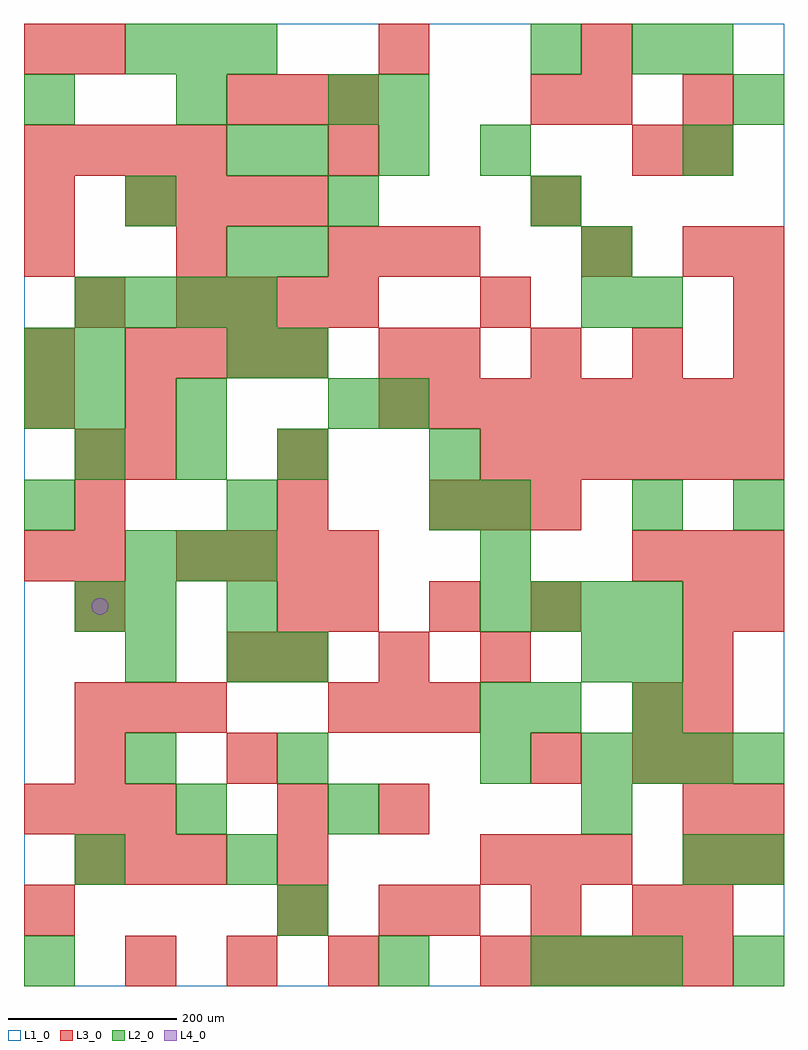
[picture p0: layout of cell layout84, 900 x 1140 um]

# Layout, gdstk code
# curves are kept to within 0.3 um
import gdstk
lib = gdstk.Library(unit=1e-6, precision=1e-09)
def R(c, l, rs):  # rectangles x0, y0, x1, y1
    for r in rs: c.add(gdstk.rectangle(r[:2], r[2:], *l))
def A(c, l, x, y, w, h, nx, ny, dx, dy):  # array of equal rectangles
    R(c, l, [(x+i*dx, y+j*dy, x+i*dx+w, y+j*dy+h) for i in range(nx) for j in range(ny)])
def P(c, l, *ps):  # polygons
    for p in ps: c.add(gdstk.Polygon(p, *l))
L1_0 = (1, 0)
L2_0 = (2, 0)
L3_0 = (3, 0)
L4_0 = (4, 0)

layout84 = lib.new_cell('layout84')
R(layout84, L1_0, [(0,0,900,1140)])
A(layout84, L2_0, 600, 0, 60, 60, 3, 1, 60, 0)
A(layout84, L2_0, 660, 240, 60, 60, 4, 1, 60, 0)
A(layout84, L2_0, 540, 420, 60, 60, 4, 1, 60, 0)
A(layout84, L2_0, 120, 480, 60, 60, 3, 2, 60, 600)
A(layout84, L2_0, 0, 540, 60, 60, 3, 1, 240, 0)
A(layout84, L2_0, 60, 600, 60, 60, 3, 1, 120, 0)
A(layout84, L2_0, 240, 720, 60, 60, 1, 3, 0, 120)
A(layout84, L2_0, 60, 780, 60, 60, 4, 1, 60, 0)
A(layout84, L2_0, 120, 900, 60, 60, 3, 1, 240, 0)
A(layout84, L2_0, 300, 960, 60, 60, 3, 1, 120, 0)
A(layout84, L2_0, 0, 1020, 60, 60, 3, 1, 180, 0)
R(layout84, L2_0, [(0,0,60,60), (420,0,480,60), (840,0,900,60), (300,60,360,120), (60,120,120,180), (240,120,300,180), (780,120,840,180), (840,120,900,180), (180,180,240,240), (360,180,420,240), (660,180,720,240), (120,240,180,300), (300,240,360,300), (540,240,600,300), (540,300,600,360), (600,300,660,360), (720,300,780,360), (120,360,180,420), (240,360,300,420), (300,360,360,420), (660,360,720,420), (720,360,780,420), (60,420,120,480), (120,420,180,480), (240,420,300,480), (540,480,600,540), (540,540,600,600), (720,540,780,600), (840,540,900,600), (480,600,540,660), (0,660,60,720), (60,660,120,720), (180,660,240,720), (360,660,420,720), (420,660,480,720), (0,720,60,780), (60,720,120,780), (300,720,360,780), (660,780,720,840), (720,780,780,840), (300,840,360,900), (660,840,720,900), (780,960,840,1020), (420,1020,480,1080), (840,1020,900,1080), (600,1080,660,1140), (720,1080,780,1140), (780,1080,840,1140)])
A(layout84, L3_0, 120, 0, 60, 60, 3, 1, 120, 0)
A(layout84, L3_0, 540, 0, 60, 60, 5, 1, 60, 0)
A(layout84, L3_0, 300, 60, 60, 60, 1, 3, 0, 60)
A(layout84, L3_0, 480, 60, 60, 60, 3, 1, 120, 0)
A(layout84, L3_0, 780, 60, 60, 60, 1, 7, 0, 60)
A(layout84, L3_0, 60, 120, 60, 60, 3, 2, 60, 180)
A(layout84, L3_0, 540, 120, 60, 60, 3, 1, 60, 0)
A(layout84, L3_0, 0, 180, 60, 60, 3, 1, 60, 0)
A(layout84, L3_0, 360, 300, 60, 60, 3, 1, 60, 0)
A(layout84, L3_0, 300, 360, 60, 60, 3, 1, 120, 0)
A(layout84, L3_0, 60, 420, 60, 60, 1, 4, 0, 60)
A(layout84, L3_0, 360, 420, 60, 60, 3, 1, 120, 0)
A(layout84, L3_0, 180, 480, 60, 60, 4, 2, 60, 300)
A(layout84, L3_0, 720, 480, 60, 60, 3, 1, 60, 0)
A(layout84, L3_0, 480, 540, 60, 60, 3, 1, 60, 0)
A(layout84, L3_0, 540, 600, 60, 60, 6, 1, 60, 0)
A(layout84, L3_0, 420, 660, 60, 60, 8, 1, 60, 0)
A(layout84, L3_0, 0, 720, 60, 60, 1, 3, 0, 180)
A(layout84, L3_0, 120, 720, 60, 60, 4, 2, 60, 180)
A(layout84, L3_0, 480, 720, 60, 60, 4, 1, 120, 0)
A(layout84, L3_0, 0, 840, 60, 60, 3, 1, 180, 0)
A(layout84, L3_0, 0, 960, 60, 60, 4, 1, 60, 0)
A(layout84, L3_0, 240, 1020, 60, 60, 3, 1, 60, 0)
R(layout84, L3_0, [(0,60,60,120), (420,60,480,120), (840,120,900,180), (420,180,480,240), (840,180,900,240), (60,240,120,300), (240,240,300,300), (600,240,660,300), (720,240,780,300), (720,300,780,360), (240,360,300,420), (300,420,360,480), (840,420,900,480), (0,480,60,540), (300,540,360,600), (120,600,180,660), (300,600,360,660), (0,660,60,720), (120,660,180,720), (420,720,480,780), (60,780,120,840), (540,780,600,840), (840,780,900,840), (420,840,480,900), (480,840,540,900), (660,840,720,900), (780,840,840,900), (840,840,900,900), (600,900,660,960), (360,960,420,1020), (720,960,780,1020), (780,960,840,1020), (600,1020,660,1080), (660,1020,720,1080), (780,1020,840,1080), (60,1080,120,1140), (420,1080,480,1140), (660,1080,720,1140)])
P(layout84, L4_0, [(100,450),(99.239,453.827),(97.071,457.071),(93.827,459.239),(90,460),(86.173,459.239),(82.929,457.071),(80.761,453.827),(80,450),(80.761,446.173),(82.929,442.929),(86.173,440.761),(90,440),(93.827,440.761),(97.071,442.929),(99.239,446.173)])

lib.write_gds('layout84.gds')
